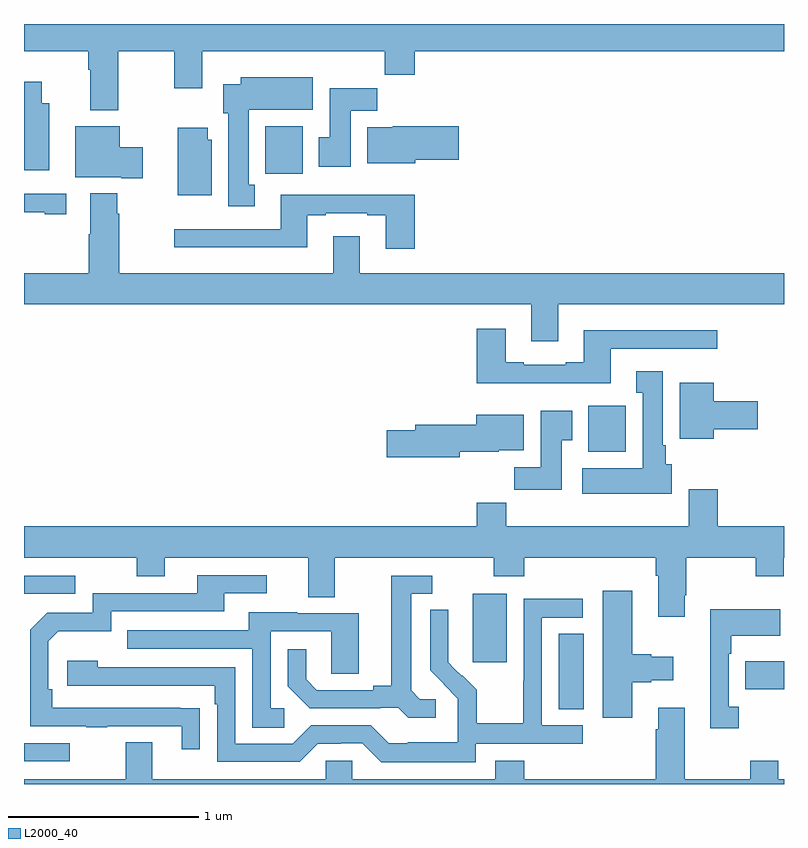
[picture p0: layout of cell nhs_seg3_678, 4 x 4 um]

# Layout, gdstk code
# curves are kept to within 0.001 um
import gdstk
lib = gdstk.Library(unit=1e-6, precision=1e-09)
def R(c, l, rs):  # rectangles x0, y0, x1, y1
    for r in rs: c.add(gdstk.rectangle(r[:2], r[2:], *l))
def P(c, l, *ps):  # polygons
    for p in ps: c.add(gdstk.Polygon(p, *l))
L2000_40 = (2000, 40)

nhs_seg3_678 = lib.new_cell('nhs_seg3_678')
R(nhs_seg3_678, L2000_40, [(145,690.519,145.24,690.615), (147.815,690.793,147.946,691.19), (148.795,690.898,149,691.045), (147.362,691.041,147.541,691.402), (145,691.401,145.27,691.497), (147.971,692.15,148.168,692.392), (146.271,693.612,146.467,693.862)])
P(nhs_seg3_678, L2000_40, [(145,694.256),(145.337,694.256),(145.337,694.16),(145.349,694.16),(145.349,693.947),(145.497,693.947),(145.497,694.256),(145.792,694.256),(145.792,694.062),(145.939,694.062),(145.939,694.256),(146.899,694.256),(146.899,694.132),(147.056,694.132),(147.056,694.256),(149,694.256),(149,694.4),(145,694.4)],
  [(146.215,693.553),(146.182,693.553),(146.182,693.95),(146.521,693.95),(146.521,694.12),(146.141,694.12),(146.141,694.084),(146.048,694.084),(146.048,693.93),(146.075,693.93),(146.075,693.441),(146.215,693.441)],
  [(145.132,693.982),(145.093,693.982),(145.093,694.096),(145,694.096),(145,693.63),(145.132,693.63)],
  [(146.719,693.944),(146.858,693.944),(146.858,694.062),(146.609,694.062),(146.609,693.804),(146.552,693.804),(146.552,693.648),(146.719,693.648)],
  [(145.624,693.751),(145.504,693.751),(145.504,693.862),(145.271,693.862),(145.271,693.593),(145.511,693.593),(145.511,693.587),(145.624,693.587)],
  [(147.058,693.686),(147.289,693.686),(147.289,693.862),(146.94,693.862),(146.94,693.856),(146.807,693.856),(146.807,693.668),(147.058,693.668)],
  [(145.987,693.792),(145.966,693.792),(145.966,693.853),(145.808,693.853),(145.808,693.5),(145.987,693.5)],
  [(147.811,692.924),(149,692.924),(149,693.088),(146.767,693.088),(146.767,693.283),(146.627,693.283),(146.627,693.088),(145.502,693.088),(145.502,693.401),(145.492,693.401),(145.492,693.508),(145.349,693.508),(145.349,693.293),(145.342,693.293),(145.342,693.088),(145,693.088),(145,692.924),(147.671,692.924),(147.671,692.73),(147.811,692.73)],
  [(145.222,693.507),(145,693.507),(145,693.409),(145.109,693.409),(145.109,693.399),(145.222,693.399)],
  [(147.056,693.502),(146.351,693.502),(146.351,693.321),(145.791,693.321),(145.791,693.224),(146.491,693.224),(146.491,693.393),(146.587,693.393),(146.587,693.405),(146.807,693.405),(146.807,693.393),(146.903,693.393),(146.903,693.216),(147.056,693.216)],
  [(148.087,692.691),(148.648,692.691),(148.648,692.788),(147.947,692.788),(147.947,692.62),(147.851,692.62),(147.851,692.607),(147.631,692.607),(147.631,692.62),(147.535,692.62),(147.535,692.797),(147.383,692.797),(147.383,692.51),(148.087,692.51)],
  [(148.408,692.082),(148.378,692.082),(148.378,692.182),(148.363,692.182),(148.363,692.572),(148.223,692.572),(148.223,692.459),(148.256,692.459),(148.256,692.062),(147.939,692.062),(147.939,691.928),(148.408,691.928)],
  [(148.63,692.267),(148.861,692.267),(148.861,692.414),(148.63,692.414),(148.63,692.512),(148.451,692.512),(148.451,692.216),(148.63,692.216)],
  [(147.829,692.209),(147.886,692.209),(147.886,692.365),(147.719,692.365),(147.719,692.068),(147.58,692.068),(147.58,691.95),(147.829,691.95)],
  [(147.294,692.15),(147.498,692.15),(147.498,692.156),(147.631,692.156),(147.631,692.344),(147.38,692.344),(147.38,692.291),(147.059,692.291),(147.059,692.261),(146.91,692.261),(146.91,692.119),(147.294,692.119)],
  [(145,691.592),(145.594,691.592),(145.594,691.493),(145.741,691.493),(145.741,691.592),(146.495,691.592),(146.495,691.384),(146.635,691.384),(146.635,691.592),(147.472,691.592),(147.472,691.493),(147.632,691.493),(147.632,691.592),(148.325,691.592),(148.325,691.496),(148.337,691.496),(148.337,691.281),(148.477,691.281),(148.477,691.393),(148.485,691.393),(148.485,691.592),(148.852,691.592),(148.852,691.493),(148.998,691.493),(148.998,691.592),(149,691.592),(149,691.756),(148.652,691.756),(148.652,691.951),(148.499,691.951),(148.499,691.756),(147.539,691.756),(147.539,691.88),(147.383,691.88),(147.383,691.756),(145,691.756)],
  [(145.925,690.8),(145.148,690.801),(145.148,690.898),(145.128,690.898),(145.128,691.152),(145.181,691.205),(145.458,691.205),(145.458,691.308),(146.053,691.308),(146.053,691.404),(146.278,691.404),(146.278,691.5),(145.913,691.5),(145.913,691.404),(145.362,691.404),(145.362,691.302),(145.122,691.302),(145.032,691.212),(145.032,690.705),(145.327,690.705),(145.327,690.7),(145.439,690.7),(145.439,690.705),(145.829,690.705),(145.829,690.582),(145.925,690.582)],
  [(147.166,690.846),(147.084,690.846),(147.037,690.893),(147.037,691.401),(147.148,691.401),(147.148,691.497),(146.933,691.497),(146.933,690.917),(146.837,690.917),(146.837,690.894),(146.542,690.894),(146.485,690.951),(146.485,691.108),(146.388,691.108),(146.388,690.914),(146.504,690.798),(146.876,690.798),(146.876,690.801),(146.97,690.801),(147.022,690.749),(147.166,690.749)],
  [(148.201,690.935),(148.301,690.935),(148.301,690.947),(148.417,690.947),(148.417,691.069),(148.301,691.069),(148.301,691.082),(148.201,691.082),(148.201,691.417),(148.046,691.417),(148.046,690.75),(148.201,690.75)],
  [(147.378,690.612),(147.94,690.612),(147.94,690.708),(147.726,690.708),(147.726,691.275),(147.94,691.275),(147.94,691.374),(147.63,691.374),(147.63,690.944),(147.628,690.944),(147.628,690.721),(147.383,690.721),(147.383,690.895),(147.306,690.972),(147.303,690.969),(147.233,691.04),(147.234,691.316),(147.138,691.316),(147.138,690.998),(147.284,690.85),(147.284,690.753),(147.282,690.753),(147.282,690.619),(147.019,690.619),(147.019,690.615),(146.919,690.615),(146.826,690.708),(146.511,690.708),(146.415,690.612),(146.112,690.612),(146.112,691.014),(145.388,691.014),(145.388,691.048),(145.227,691.048),(145.227,690.918),(146.003,690.918),(146.003,690.821),(146.016,690.821),(146.016,690.516),(146.451,690.516),(146.547,690.612),(146.666,690.612),(146.666,690.615),(146.781,690.615),(146.881,690.515),(147.378,690.515)],
  [(148.762,690.806),(148.71,690.806),(148.71,691.085),(148.723,691.085),(148.723,691.181),(148.979,691.181),(148.979,691.321),(148.613,691.321),(148.613,690.693),(148.762,690.693)],
  [(146.371,690.798),(146.298,690.798),(146.298,691.203),(146.616,691.203),(146.616,690.979),(146.761,690.979),(146.761,691.299),(146.437,691.299),(146.437,691.303),(146.183,691.303),(146.183,691.209),(145.543,691.209),(145.543,691.113),(146.202,691.113),(146.202,690.697),(146.371,690.697)],
  [(149,690.424),(148.969,690.424),(148.969,690.523),(148.822,690.523),(148.822,690.424),(148.477,690.424),(148.477,690.802),(148.337,690.802),(148.337,690.689),(148.325,690.689),(148.325,690.424),(147.632,690.424),(147.632,690.523),(147.479,690.523),(147.479,690.424),(146.727,690.424),(146.727,690.522),(146.589,690.522),(146.589,690.424),(145.675,690.424),(145.675,690.619),(145.535,690.619),(145.535,690.424),(145,690.424),(145,690.4),(149,690.4)])

lib.write_gds('nhs_seg3_678.gds')
